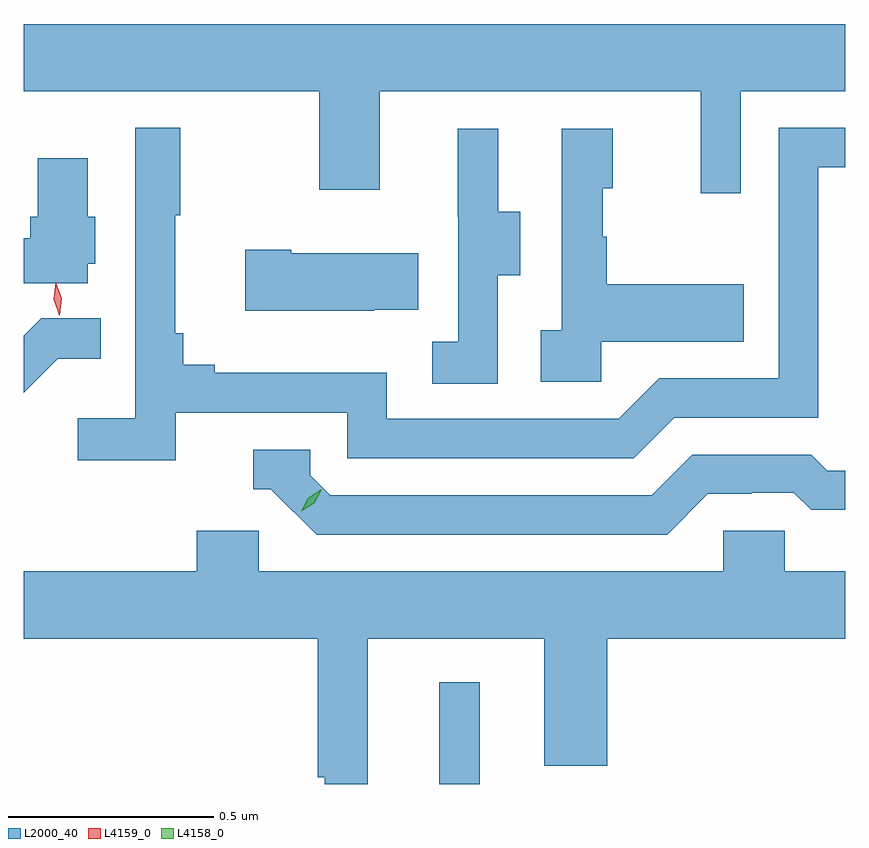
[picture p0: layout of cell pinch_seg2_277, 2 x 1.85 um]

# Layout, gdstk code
import gdstk
lib = gdstk.Library(unit=1e-6, precision=1e-09)
def R(c, l, rs):  # rectangles x0, y0, x1, y1
    for r in rs: c.add(gdstk.rectangle(r[:2], r[2:], *l))
def P(c, l, *ps):  # polygons
    for p in ps: c.add(gdstk.Polygon(p, *l))
L2000_40 = (2000, 40)
L4158_0 = (4158, 0)
L4159_0 = (4159, 0)

pinch_seg2_277 = lib.new_cell('pinch_seg2_277')
R(pinch_seg2_277, L2000_40, [(898.274,657.938,898.372,658.186)])
P(pinch_seg2_277, L2000_40, [(899.007,659.624),(899.262,659.624),(899.262,659.788),(897.262,659.788),(897.262,659.624),(897.982,659.624),(897.982,659.385),(898.129,659.385),(898.129,659.624),(898.91,659.624),(898.91,659.376),(899.007,659.376)],
  [(897.632,658.842),(898.05,658.842),(898.05,658.731),(898.747,658.731),(898.846,658.83),(899.196,658.83),(899.196,659.439),(899.262,659.439),(899.262,659.535),(899.1,659.535),(899.1,658.926),(898.809,658.926),(898.71,658.827),(898.146,658.827),(898.146,658.939),(897.727,658.939),(897.727,658.958),(897.65,658.958),(897.65,659.035),(897.631,659.035),(897.631,659.323),(897.643,659.323),(897.643,659.536),(897.534,659.536),(897.534,658.828),(897.393,658.828),(897.393,658.726),(897.632,658.726)],
  [(898.416,659.176),(898.471,659.176),(898.471,659.331),(898.417,659.331),(898.417,659.533),(898.319,659.533),(898.319,659.319),(898.32,659.319),(898.32,659.015),(898.257,659.015),(898.257,658.912),(898.416,658.912)],
  [(898.668,659.015),(899.015,659.015),(899.015,659.155),(898.681,659.155),(898.681,659.27),(898.671,659.27),(898.671,659.388),(898.696,659.388),(898.696,659.533),(898.572,659.533),(898.572,659.042),(898.521,659.042),(898.521,658.917),(898.668,658.917)],
  [(897.418,659.205),(897.436,659.205),(897.436,659.319),(897.418,659.319),(897.418,659.461),(897.296,659.461),(897.296,659.319),(897.278,659.319),(897.278,659.266),(897.262,659.266),(897.262,659.157),(897.418,659.157)],
  [(898.115,659.093),(898.223,659.093),(898.223,659.23),(897.913,659.23),(897.913,659.238),(897.801,659.238),(897.801,659.09),(898.115,659.09)],
  [(897.345,658.973),(897.449,658.973),(897.449,659.072),(897.305,659.072),(897.262,659.029),(897.262,658.89)],
  [(898.927,658.644),(899.034,658.644),(899.034,658.647),(899.137,658.647),(899.179,658.605),(899.262,658.605),(899.262,658.701),(899.218,658.701),(899.179,658.74),(898.89,658.74),(898.791,658.641),(898.008,658.641),(897.96,658.689),(897.96,658.752),(897.821,658.752),(897.821,658.656),(897.864,658.656),(897.975,658.545),(898.828,658.545)],
  [(898.099,658.292),(898.529,658.292),(898.529,657.983),(898.682,657.983),(898.682,658.292),(899.262,658.292),(899.262,658.456),(899.115,658.456),(899.115,658.554),(898.965,658.554),(898.965,658.456),(897.834,658.456),(897.834,658.554),(897.683,658.554),(897.683,658.456),(897.262,658.456),(897.262,658.292),(897.978,658.292),(897.978,657.955),(897.995,657.955),(897.995,657.938),(898.099,657.938)])
P(pinch_seg2_277, L4158_0, [(897.938,658.602),(897.938,658.602),(897.954,658.634),(897.985,658.654),(897.986,658.654),(897.986,658.653),(897.969,658.621),(897.938,658.602)])
P(pinch_seg2_277, L4159_0, [(897.349,659.079),(897.335,659.118),(897.34,659.159),(897.34,659.159),(897.34,659.159),(897.355,659.12),(897.35,659.079),(897.35,659.079)])

lib.write_gds('pinch_seg2_277.gds')
